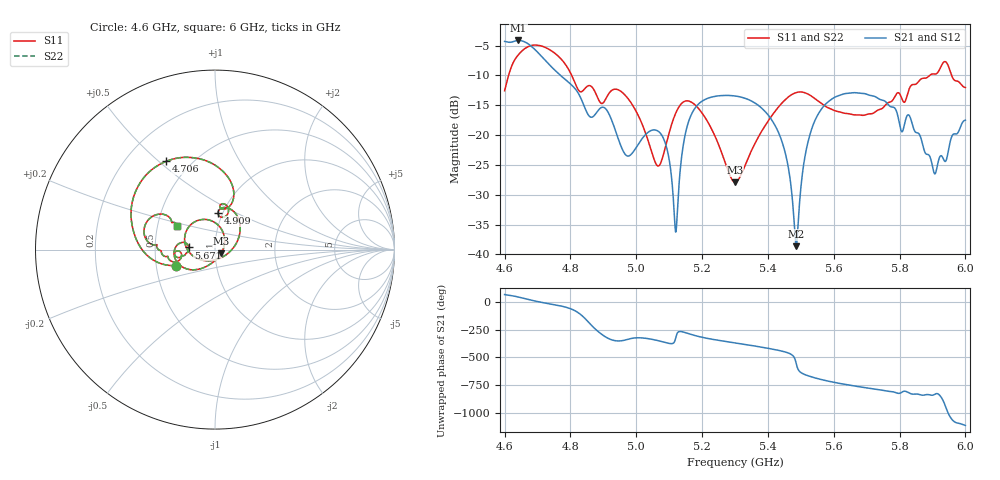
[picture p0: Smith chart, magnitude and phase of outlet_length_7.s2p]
! TOUCHSTONE file generated by CST MICROWAVE STUDIO
! Date and time: Mon Dec  2 04:50:24 2024
! Project name: test_tuning.cst
! Parameters = {airCoaxOuterDiameter=3; chamferAngle=45; chamferWidth=24; connectorLength=10; drillingHoleDiameter=4.1; feedLength=60; flareDiameter=130; flareLength=70; gratingDistance=0; gratingGap=1.90274; outletLength=40; polarizerLength=134; probe1Diameter=1.3; probe1Distance=14; probe1Length=1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
! Header version: 2024
! Port assignment regex: !\s*Touchstone port\s*([0-9]+)\s*=\s*(CST MWS port|CST DES external port|CST DES block port)\s*(.+)\s* \(\"(.*)\"\)(\s*mode\s*([0-9]+))?.*
! Touchstone port assignment:
! Touchstone port 1 = CST MWS port 1 ("Input1")
! Touchstone port 2 = CST MWS port 2 ("Input2")
# GHz S MA R 50
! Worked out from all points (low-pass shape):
!   1001 points, 4.6 GHz to 6 GHz, reference 50 ohm
!   highest |S21| = -4.15 dB at 4.642 GHz (marker M1); lowest = -38.6 dB at 5.486 GHz (marker M2)
!   |S21| within 3 dB of the highest: start of sweep to 4.718 GHz
!   lowest |S11| = -27.9 dB at 5.3 GHz (marker M3), VSWR 1.08, Z = 53.6 - j2.1 ohm
!   |S11| at or under -10 dB: start of sweep to 4.612133 GHz; 4.804 GHz to 5.892 GHz (1.088 GHz wide, 20.3 % of centre); 5.958 GHz to end of sweep
!   |S22| runs from -27.9 to -4.9 dB; largest |S21 - S12| = 5.6e-07
!   S11 on the Smith chart (normalised r, x): 4.6 GHz: 0.63, -0.12; 4.706 GHz: 0.37, +0.53; 4.909 GHz: 0.95, +0.41; 5.671 GHz: 0.74, +0.02; 6 GHz: 0.63, +0.18
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4.6  0.2349 -157.8  0.6091 64.7  0.6091 64.7  0.2349 -157.8
4.642  0.4713 166.0  0.6202 42.2  0.6202 42.2  0.4714 166.0
4.7064  0.562 119.0  0.4746 -2.2  0.4746 -2.2  0.562 119.0
4.782  0.4008 78.5  0.2956 -45.6  0.2956 -45.6  0.4008 78.5
4.8338  0.2309 80.7  0.1974 -121.2  0.1974 -121.2  0.2309 80.7
4.9094  0.2058 85.4  0.1631 39.8  0.1631 39.8  0.2058 85.4
4.9724  0.2062 48.7  0.06681 21.5  0.06681 21.5  0.2062 48.7
5.0676  0.05506 -72.6  0.1072 10.2  0.1072 10.2  0.05506 -72.6
5.097  0.09744 -144.4  0.06897 -12.0  0.06897 -12.0  0.09744 -144.4
5.1194  0.1515 -178.6  0.0154 30.4  0.0154 30.4  0.1515 -178.6
5.1432  0.1893 149.1  0.0837 88.2  0.0837 88.2  0.1893 149.1
5.1698  0.1869 118.5  0.1533 64.0  0.1533 64.0  0.1869 118.5
5.3  0.04017 -29.1  0.2124 -9.0  0.2124 -9.0  0.04017 -29.1
5.4316  0.1712 -138.9  0.106 -75.6  0.106 -75.6  0.1712 -138.9
5.461  0.2073 -152.5  0.05546 -98.6  0.05546 -98.6  0.2073 -152.5
5.4862  0.2269 -165.7  0.01172 163.3  0.01172 163.3  0.2269 -165.7
5.5086  0.2278 -177.4  0.0566 71.1  0.0566 71.1  0.2278 -177.4
5.5338  0.2104 172.4  0.1143 44.9  0.1143 44.9  0.2104 172.4
5.671  0.1477 175.3  0.2256 -39.8  0.2256 -39.8  0.1477 175.3
5.7676  0.1879 -169.8  0.1774 -83.8  0.1774 -83.8  0.1879 -169.8
5.9062  0.3248 175.2  0.04744 -111.4  0.04744 -111.4  0.3248 175.2
6  0.2502 148.2  0.1331 -29.9  0.1331 -29.9  0.2502 148.2
